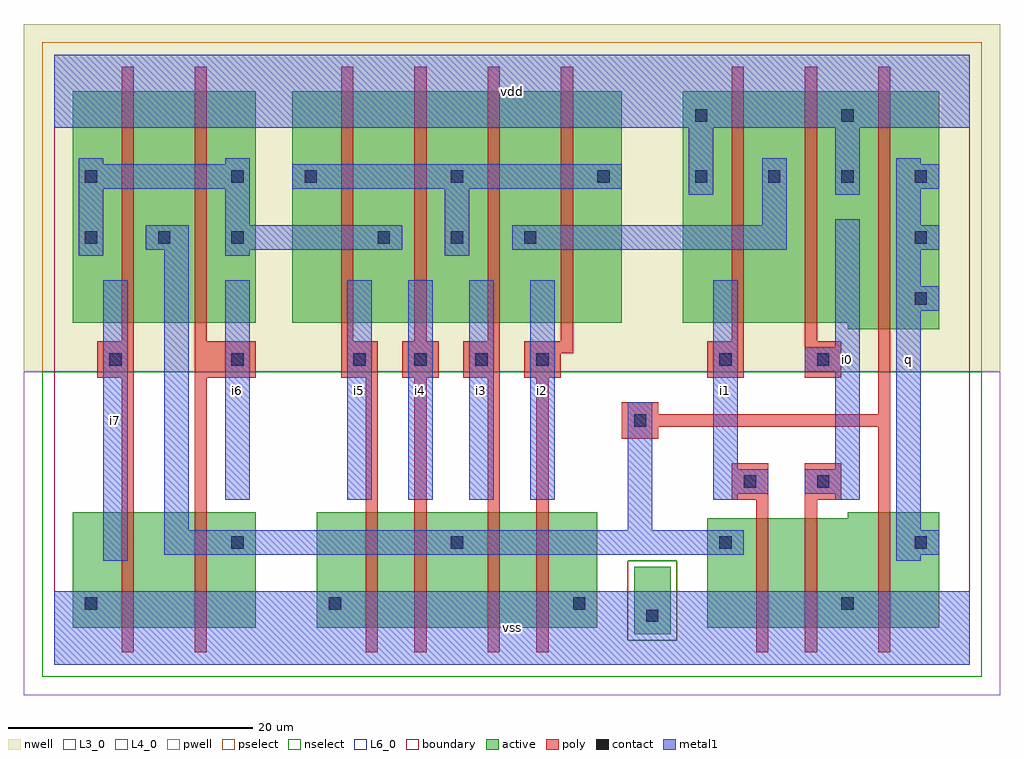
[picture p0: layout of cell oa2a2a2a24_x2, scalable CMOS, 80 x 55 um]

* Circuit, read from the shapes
.subckt oa2a2a2a24_x2 i0 i1 i2 i3 i4 i5 i6 i7 q vdd vss
M1 n1 i7 vss vss nfet w=9.5u l=1u
M2 n2 i6 n1 vss nfet w=9.5u l=1u
M3 n3 i5 vss vss nfet w=9.5u l=1u
M4 n2 i4 n3 vss nfet w=9.5u l=1u
M5 n4 i3 n2 vss nfet w=9.5u l=1u
M6 vss i2 n4 vss nfet w=9.5u l=1u
M7 n5 i1 n2 vss nfet w=9u l=1u
M8 vss i0 n5 vss nfet w=9u l=1u
M9 q n2 vss vss nfet w=9.5u l=1u
M10 n2 i7 n6 n7 pfet w=19u l=1u
M11 n6 i6 n2 n7 pfet w=19u l=1u
M12 n6 i5 n8 n7 pfet w=19u l=1u
M13 n8 i4 n6 n7 pfet w=19u l=1u
M14 n9 i3 n8 n7 pfet w=19u l=1u
M15 n8 i2 n9 n7 pfet w=19u l=1u
M16 n9 i1 vdd n7 pfet w=19u l=1u
M17 vdd i0 n9 n7 pfet w=19u l=1u
M18 q n2 vdd n7 pfet w=19.5u l=1u
.ends

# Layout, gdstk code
import gdstk
lib = gdstk.Library(unit=1e-6, precision=1e-09)
def R(c, l, rs):  # rectangles x0, y0, x1, y1
    for r in rs: c.add(gdstk.rectangle(r[:2], r[2:], *l))
def A(c, l, x, y, w, h, nx, ny, dx, dy):  # array of equal rectangles
    R(c, l, [(x+i*dx, y+j*dy, x+i*dx+w, y+j*dy+h) for i in range(nx) for j in range(ny)])
L3_0 = (3, 0)
L4_0 = (4, 0)
L6_0 = (6, 0)
contact = (25, 0)
pwell = (41, 0)
nwell = (42, 0)
active = (43, 0)
pselect = (44, 0)
nselect = (45, 0)
poly = (46, 0)
metal1 = (49, 0)
boundary = (63, 0)

oa2a2a2a24_x2 = lib.new_cell('oa2a2a2a24_x2')
R(oa2a2a2a24_x2, L3_0, [(1.5,3,16.5,12.5), (21.5,3,44.5,12.5), (53.5,3,72.5,12), (65,12,72.5,12.5)])
R(oa2a2a2a24_x2, L4_0, [(65,27.5,72.5,28), (1.5,28,16.5,47), (19.5,28,46.5,47), (51.5,28,72.5,47)])
R(oa2a2a2a24_x2, L6_0, [(47.5,2.5,50.5,8)])
A(oa2a2a2a24_x2, contact, 2.5, 4.5, 1, 1, 3, 1, 20, 0)
A(oa2a2a2a24_x2, contact, 4.5, 24.5, 1, 1, 3, 1, 10, 0)
A(oa2a2a2a24_x2, contact, 29.5, 24.5, 1, 1, 3, 1, 5, 0)
A(oa2a2a2a24_x2, contact, 2.5, 34.5, 1, 1, 3, 1, 6, 0)
A(oa2a2a2a24_x2, contact, 26.5, 34.5, 1, 1, 3, 1, 6, 0)
A(oa2a2a2a24_x2, contact, 20.5, 39.5, 1, 1, 3, 1, 12, 0)
A(oa2a2a2a24_x2, contact, 52.5, 39.5, 1, 1, 4, 1, 6, 0)
R(oa2a2a2a24_x2, contact, [(48.5,3.5,49.5,4.5), (64.5,4.5,65.5,5.5), (14.5,9.5,15.5,10.5), (32.5,9.5,33.5,10.5), (54.5,9.5,55.5,10.5), (70.5,9.5,71.5,10.5), (56.5,14.5,57.5,15.5), (62.5,14.5,63.5,15.5), (47.5,19.5,48.5,20.5), (54.5,24.5,55.5,25.5), (62.5,24.5,63.5,25.5), (70.5,29.5,71.5,30.5), (70.5,34.5,71.5,35.5), (2.5,39.5,3.5,40.5), (14.5,39.5,15.5,40.5), (52.5,44.5,53.5,45.5), (64.5,44.5,65.5,45.5)])
R(oa2a2a2a24_x2, pwell, [(-2.5,-2.5,77.5,24)])
R(oa2a2a2a24_x2, nwell, [(-2.5,24,77.5,52.5)])
R(oa2a2a2a24_x2, active, [(47.5,2.5,50.5,8), (1.5,3,16.5,12.5), (21.5,3,44.5,12.5), (53.5,3,72.5,12), (65,12,72.5,12.5), (65,27.5,72.5,28), (1.5,28,16.5,47), (19.5,28,46.5,47), (51.5,28,72.5,47)])
R(oa2a2a2a24_x2, pselect, [(47,2,51,8.5), (-1,24,76,51)])
R(oa2a2a2a24_x2, nselect, [(-1,-1,76,2), (-1,2,47,8.5), (51,2,76,8.5), (-1,8.5,76,24)])
A(oa2a2a2a24_x2, poly, 23.5, 23.5, 3, 3, 3, 1, 5, 0)
A(oa2a2a2a24_x2, poly, 23.5, 26.5, 1, 22.5, 4, 1, 6, 0)
R(oa2a2a2a24_x2, poly, [(5.5,1,6.5,23.5), (11.5,1,12.5,23.5), (25.5,1,26.5,23.5), (29.5,1,30.5,23.5), (35.5,1,36.5,23.5), (39.5,1,40.5,23.5), (57.5,1,58.5,13.5), (61.5,1,62.5,13.5), (67.5,1,68.5,19.5), (55.5,13.5,58.5,16.5), (61.5,13.5,64.5,16.5), (46.5,18.5,49.5,19.5), (46.5,19.5,68.5,20.5), (46.5,20.5,49.5,21.5), (67.5,20.5,68.5,49), (3.5,23.5,6.5,26.5), (11.5,23.5,16.5,26.5), (38.5,23.5,41.5,25.5), (53.5,23.5,56.5,26.5), (61.5,23.5,64.5,26.5), (38.5,25.5,42.5,26.5), (5.5,26.5,6.5,49), (11.5,26.5,12.5,49), (55.5,26.5,56.5,49), (61.5,26.5,62.5,49)])
R(oa2a2a2a24_x2, metal1, [(0,0,75,6), (0,0,75,6), (4,8.5,6,31.5), (4,8.5,6,31.5), (69,8.5,71,9), (69,8.5,71,9), (9,9,56.5,11), (9,9,56.5,11), (69,9,72.5,11), (69,9,72.5,11), (9,11,11,34), (9,11,11,34), (47,11,49,21.5), (47,11,49,21.5), (69,11,71,29), (69,11,71,29), (14,13.5,16,31.5), (14,13.5,16,31.5), (24,13.5,26,31.5), (24,13.5,26,31.5), (29,13.5,31,31.5), (29,13.5,31,31.5), (34,13.5,36,31.5), (34,13.5,36,31.5), (39,13.5,41,31.5), (39,13.5,41,31.5), (54,13.5,56,14), (54,13.5,56,14), (64,13.5,66,14), (64,13.5,66,14), (54,14,58.5,16), (54,14,58.5,16), (61.5,14,66,16), (61.5,14,66,16), (54,16,56,31.5), (54,16,56,31.5), (64,16,66,24), (64,16,66,24), (61.5,24,66,26), (61.5,24,66,26), (64,26,66,36.5), (64,26,66,36.5), (69,29,72.5,31), (69,29,72.5,31), (69,31,71,34), (69,31,71,34), (2,33.5,4,39), (2,33.5,4,39), (14,33.5,16,34), (14,33.5,16,34), (32,33.5,34,39), (32,33.5,34,39), (7.5,34,11,36), (7.5,34,11,36), (14,34,28.5,36), (14,34,28.5,36), (37.5,34,60,36), (37.5,34,60,36), (69,34,72.5,36), (69,34,72.5,36), (14,36,16,39), (14,36,16,39), (58,36,60,41.5), (58,36,60,41.5), (69,36,71,39), (69,36,71,39), (52,38.5,54,44), (52,38.5,54,44), (64,38.5,66,44), (64,38.5,66,44), (2,39,16,41), (2,39,16,41), (19.5,39,46.5,41), (19.5,39,46.5,41), (69,39,72.5,41), (69,39,72.5,41), (2,41,4,41.5), (2,41,4,41.5), (14,41,16,41.5), (14,41,16,41.5), (69,41,71,41.5), (69,41,71,41.5), (0,44,75,50), (0,44,75,50)])
R(oa2a2a2a24_x2, boundary, [(0,0,75,50)])
oa2a2a2a24_x2.add(gdstk.Label('i6', (15,22.5), layer=49, texttype=0))
oa2a2a2a24_x2.add(gdstk.Label('i7', (5,20), layer=49, texttype=0))
oa2a2a2a24_x2.add(gdstk.Label('i3', (35,22.5), layer=49, texttype=0))
oa2a2a2a24_x2.add(gdstk.Label('i4', (30,22.5), layer=49, texttype=0))
oa2a2a2a24_x2.add(gdstk.Label('i5', (25,22.5), layer=49, texttype=0))
oa2a2a2a24_x2.add(gdstk.Label('vss', (37.5,3), layer=49, texttype=0))
oa2a2a2a24_x2.add(gdstk.Label('i1', (55,22.5), layer=49, texttype=0))
oa2a2a2a24_x2.add(gdstk.Label('i2', (40,22.5), layer=49, texttype=0))
oa2a2a2a24_x2.add(gdstk.Label('vdd', (37.5,47), layer=49, texttype=0))
oa2a2a2a24_x2.add(gdstk.Label('i0', (65,25), layer=49, texttype=0))
oa2a2a2a24_x2.add(gdstk.Label('q', (70,25), layer=49, texttype=0))

lib.write_gds('oa2a2a2a24_x2.gds')
